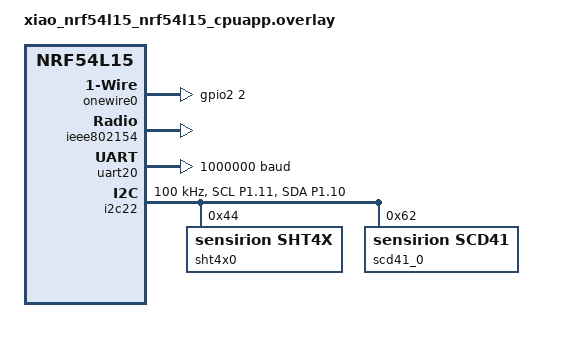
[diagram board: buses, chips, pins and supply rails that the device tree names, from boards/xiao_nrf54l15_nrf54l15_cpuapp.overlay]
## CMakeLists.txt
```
cmake_minimum_required(VERSION 3.20.0)

find_package(Zephyr REQUIRED HINTS $ENV{ZEPHYR_BASE})
project(ot_templatev4)

# Project headers (include/)
target_include_directories(app PRIVATE ${CMAKE_SOURCE_DIR}/include)

# App sources
target_sources(app PRIVATE
  src/main.c
  src/app_core.c
  src/transport.c
  src/coap_client.c
  src/topic.c
)

# >>> Forceer link van de SHT41 publisher als de toggle aan staat <<<
if(CONFIG_APP_USE_SHT41_SENSOR)
  target_sources(app PRIVATE lib/sensors_sht41/sensors_sht41.c)
endif()

if(CONFIG_APP_USE_SCD41_SENSOR)
  target_sources(app PRIVATE lib/sensors_scd41/sensors_scd41.c)
endif()
```

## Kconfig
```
mainmenu "ot_templatev4"

menu "App options"


config APP_DEBUG_SENSOR
    bool "Log sensor detection and readouts"
    default y

config APP_DEBUG_TRANSPORT
    bool "Log CoAP publishes (topic and result code)"
    default y

config APP_TRANSPORT_COAP
    bool "Use CoAP transport"
    default y

config APP_PUBLISH_UPTIME
    bool "Publish uptime"
    default y

config APP_USE_SHT41_SENSOR
    bool "Use SHT41 sensor publisher"
    default n

config APP_NODE_ID
    string "Node ID (e.g. 12 -> ND12)"
    default "00"

config APP_MEASUREMENT_PERIOD_S
    int "Measurement period (seconds)"
    default 60
    range 1 86400

config APP_COAP_ACK_TIMEOUT_MS
    int "CoAP ACK initial timeout (ms)"
    default 800
    range 100 5000

config APP_COAP_RETRIES
    int "CoAP CON retries"
    default 3
    range 0 8

endmenu

source "Kconfig.zephyr"
```

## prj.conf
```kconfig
###############################################
#  Core networking + OpenThread
###############################################
CONFIG_NETWORKING=y
CONFIG_NET_IPV6=y
CONFIG_NET_UDP=y
CONFIG_NET_SOCKETS=y
CONFIG_NET_L2_OPENTHREAD=y

CONFIG_OPENTHREAD=y
CONFIG_OPENTHREAD_SHELL=y
CONFIG_MULTITHREADING=y


###############################################
#  Console + Shell
###############################################
CONFIG_SERIAL=y
CONFIG_CONSOLE=y
CONFIG_UART_CONSOLE=y
CONFIG_SHELL=y
CONFIG_SHELL_BACKEND_SERIAL=y
CONFIG_SHELL_STACK_SIZE=2048


###############################################
#  Logging
###############################################
CONFIG_LOG=y
CONFIG_PRINTK=y
CONFIG_LOG_BACKEND_UART=y

# Log buffering uit — direct printen
CONFIG_LOG_MODE_IMMEDIATE=y

# Voorkom dubbele log-threads die stack vreten
CONFIG_LOG_PROCESS_THREAD=n
CONFIG_SHELL_LOG_BACKEND=n
CONFIG_SHELL_BACKEND_SERIAL_LOG_MESSAGE_QUEUE_SIZE=32


###############################################
#  I2C + Sensordrivers
###############################################
CONFIG_I2C=y
CONFIG_SENSOR=y
CONFIG_SHT4X=y

# Sensor driver logging
CONFIG_SENSOR_LOG_LEVEL_INF=y


###############################################
#  Memory & Thread stacks (belangrijk!)
###############################################
# App / main / workqueue
CONFIG_MAIN_STACK_SIZE=6144
CONFIG_SYSTEM_WORKQUEUE_STACK_SIZE=2048
CONFIG_ISR_STACK_SIZE=3072
CONFIG_HEAP_MEM_POOL_SIZE=8192

# OpenThread thread stacks
CONFIG_OPENTHREAD_THREAD_STACK_SIZE=8192
CONFIG_OPENTHREAD_RADIO_WORKQUEUE_STACK_SIZE=1024

# Stack debugging / guards
CONFIG_INIT_STACKS=y
CONFIG_STACK_SENTINEL=y
CONFIG_THREAD_STACK_INFO=y
CONFIG_THREAD_NAME=y

# Fault debugging
CONFIG_FAULT_DUMP=2
CONFIG_ASSERT=y


###############################################
#  CoAP Transport
###############################################
CONFIG_COAP=y
CONFIG_APP_TRANSPORT_COAP=y
CONFIG_APP_COAP_ACK_TIMEOUT_MS=800
CONFIG_APP_COAP_RETRIES=3


###############################################
#  Settings (persist CoAP server)
###############################################
CONFIG_SETTINGS=y
CONFIG_SETTINGS_RUNTIME=y

# NVS requires flash + map + nvs backend
CONFIG_FLASH=y
CONFIG_FLASH_MAP=y
CONFIG_NVS=y
CONFIG_SETTINGS_NVS=y
```

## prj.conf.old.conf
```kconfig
###############################################
#  Core networking + OpenThread
###############################################
CONFIG_NETWORKING=y
CONFIG_NET_IPV6=y
CONFIG_NET_UDP=y
CONFIG_NET_SOCKETS=y
CONFIG_NET_L2_OPENTHREAD=y

CONFIG_OPENTHREAD=y
CONFIG_OPENTHREAD_SHELL=y
CONFIG_MULTITHREADING=y


###############################################
#  Console + Shell
###############################################
CONFIG_SERIAL=y
CONFIG_CONSOLE=y
CONFIG_UART_CONSOLE=y
CONFIG_SHELL=y
CONFIG_SHELL_BACKEND_SERIAL=y
CONFIG_SHELL_STACK_SIZE=2048


###############################################
#  Logging
###############################################
CONFIG_LOG=y
CONFIG_PRINTK=y
CONFIG_LOG_BACKEND_UART=y

CONFIG_LOG_MODE_IMMEDIATE=y

# Voorkom dubbele log-threads die stack vreten
CONFIG_LOG_PROCESS_THREAD=n
CONFIG_SHELL_LOG_BACKEND=n
CONFIG_SHELL_BACKEND_SERIAL_LOG_MESSAGE_QUEUE_SIZE=32


###############################################
#  I2C + Sensordrivers
###############################################
CONFIG_I2C=y
CONFIG_SENSOR=y

# Sensor driver logging
CONFIG_SENSOR_LOG_LEVEL_INF=y


###############################################
#  Memory & Thread stacks (belangrijk!)
###############################################
# App / main / workqueue
CONFIG_MAIN_STACK_SIZE=6144
CONFIG_SYSTEM_WORKQUEUE_STACK_SIZE=2048
CONFIG_ISR_STACK_SIZE=3072
CONFIG_HEAP_MEM_POOL_SIZE=8192

# OpenThread thread stacks
CONFIG_OPENTHREAD_THREAD_STACK_SIZE=8192
CONFIG_OPENTHREAD_RADIO_WORKQUEUE_STACK_SIZE=1024

# Stack debugging / guards
CONFIG_INIT_STACKS=y
CONFIG_STACK_SENTINEL=y
CONFIG_THREAD_STACK_INFO=y
CONFIG_THREAD_NAME=y

# Fault debugging
CONFIG_FAULT_DUMP=2
CONFIG_ASSERT=y


###############################################
#  CoAP Transport
###############################################
CONFIG_COAP=y
CONFIG_APP_TRANSPORT_COAP=y
CONFIG_APP_COAP_ACK_TIMEOUT_MS=800
CONFIG_APP_COAP_RETRIES=3


###############################################
#  Settings (persist CoAP server)
###############################################
CONFIG_SETTINGS=y
CONFIG_SETTINGS_RUNTIME=y

# NVS requires flash + map + nvs backend
CONFIG_FLASH=y
CONFIG_FLASH_MAP=y
CONFIG_NVS=y
CONFIG_SETTINGS_NVS=y
```

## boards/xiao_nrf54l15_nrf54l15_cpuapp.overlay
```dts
#include <zephyr/dt-bindings/gpio/gpio.h>

/ {
    chosen {
        zephyr,ieee802154 = &ieee802154;
    };

    aliases {
        onewire0 = &onewire0;
        i2c0 = &i2c22;   /* alias is prima voor C (DT_ALIAS(i2c0)), niet voor &-referenties */
    };

    onewire0: w1 {
        compatible = "zephyr,w1-gpio";
        status = "okay";
        gpios = <&gpio2 2 (GPIO_OPEN_DRAIN | GPIO_PULL_UP)>;
    };
};

&ieee802154 {
    status = "okay";
};

&uart20 {
    current-speed = <1000000>;
    status = "okay";
};

/* I²C22 actief + pinmux naar PORT1: SCL=P1.11 (D5), SDA=P1.10 (D4) */
&i2c22 {
    status = "okay";
    clock-frequency = <I2C_BITRATE_STANDARD>; /* 100 kHz */
    pinctrl-0 = <&i2c22_default>;
    pinctrl-1 = <&i2c22_sleep>;
    pinctrl-names = "default", "sleep";

    /* SHT41/SHT4x node op adres 0x44 (sommige varianten gebruiken 0x45) */
    sht4x0: sht4x@44 {
        compatible = "sensirion,sht4x";
        reg = <0x44>;
        repeatability = <2>;   /* verplicht: 0=low, 1=med, 2=high */
        status = "okay";
        /* zephyr,deferred-init;  // kan, maar is niet nodig hier */
    };
    /* SCD41 CO2 sensor op adres 0x62 */
    scd41_0: scd41@62 {
        compatible = "sensirion,scd41";
        reg = <0x62>;
        mode = <1>;       /* 1 = periodic (integer, géén string) */
        status = "okay";
    };
};

/* Pinctrl: koppel i2c22 aan P1.11 (SCL) en P1.10 (SDA) */
&pinctrl {
    /omit-if-no-ref/ i2c22_default: i2c22_default {
        group1 {
            psels = <NRF_PSEL(TWIM_SCL, 1, 11)>, <NRF_PSEL(TWIM_SDA, 1, 10)>;
        };
    };
    /omit-if-no-ref/ i2c22_sleep: i2c22_sleep {
        group1 {
            psels = <NRF_PSEL(TWIM_SCL, 1, 11)>, <NRF_PSEL(TWIM_SDA, 1, 10)>;
            low-power-enable;
        };
    };
};
```

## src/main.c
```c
#include <zephyr/logging/log.h>
LOG_MODULE_REGISTER(app_main, LOG_LEVEL_INF);

extern int app_core_start(void);

/* Simpel versienummer: jij beheert dit zelf */
#define APP_VERSION   "v4.2.0"

/* Optioneel: automatisch buildtijdstip */
#define APP_BUILD     __DATE__ " " __TIME__

int main(void)
{
    LOG_INF("========================================");
    LOG_INF(" ot_templatev4 %s", APP_VERSION);
    LOG_INF(" built %s", APP_BUILD);
    LOG_INF(" starting node ...");
    LOG_INF("========================================");

    return app_core_start();
}
```

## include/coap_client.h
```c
#pragma once
#include <stdbool.h>
#include <stdint.h>
#include <stddef.h>   /* size_t voor coap_client_get_server() */

int  coap_client_init(const char *server_addr, uint16_t port);
int  coap_client_set_server(const char *server_addr, uint16_t port);
int  coap_client_get_server(char *addr, size_t len, uint16_t *port);
bool coap_client_ready(void);

int  coap_client_post(const char *uri_path,
                      const char *payload,
                      uint32_t ack_timeout_ms,
                      int n_retries);

int  coap_client_post_mqttlike(const char *uri_path,
                               const char *topic,
                               const char *value,
                               uint32_t ack_timeout_ms,
                               int n_retries);
```

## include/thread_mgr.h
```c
#pragma once
#include <stdbool.h>

void thread_mgr_init(void);
void thread_mgr_poll(void);
bool thread_mgr_is_attached(void);
```

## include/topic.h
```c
#pragma once
#include <stddef.h>

/* Bouw "ND<nodeId>", bv. node_id="30" -> "ND30" */
int topic_root(char *out, size_t out_len, const char *node_id);

/* Bouw "NDxx/<chan>/<device>/<field>" */
int topic_build(char *out, size_t out_len,
                const char *root,      /* bv. "ND30" */
                const char *chan,      /* "OUT" | "STATUS" */
                const char *device,    /* "SHT41-1", "DS18B20-2", ... */
                const char *field);    /* "TEMP", "RH", "CO2", "uptime", ... */
```

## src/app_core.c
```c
#include <zephyr/kernel.h>
#include <zephyr/logging/log.h>
LOG_MODULE_REGISTER(app_core, LOG_LEVEL_INF);

#include <stdatomic.h>
#include <string.h>

#include "transport.h"
#include "topic.h"

#include <zephyr/net/openthread.h>
#include <openthread/instance.h>
#include <openthread/thread.h>


/* --- Kconfig --------------------------------------------------------------- */
#ifndef CONFIG_APP_NODE_ID
#define CONFIG_APP_NODE_ID "00"
#endif
#ifndef CONFIG_APP_MEASUREMENT_PERIOD_S
#define CONFIG_APP_MEASUREMENT_PERIOD_S 60
#endif

/* --- Event-timer ----------------------------------------------------------- */
#define TICK_MS 1000

static struct k_timer tick_timer;
static void tick_cb(struct k_timer *t) { ARG_UNUSED(t); }

/* --- Sampling via k_work (niet blokkerend in TICK) ------------------------- */
static struct k_work sample_work;
static atomic_bool   sampling_busy;

static void app_publish_uptime(const char *root)
{
    char topic[64], payload[24];
    topic_build(topic, sizeof(topic), root, "STATUS", "uptime", "s");
    snprintk(payload, sizeof(payload), "%u", (unsigned)(k_uptime_get_32() / 1000U));
    int rc = transport_publish(topic, payload);
    if (rc) LOG_WRN("publish uptime rc=%d", rc);
}

/* ---- Hook: hier koppel jij jouw sensormeet- en publishcode in -------------
 * Voorbeeld:
 *   - bouw topic NDxx/OUT/SHT41-1/TEMP
 *   - payload = centi-°C als decimaal
 *   - transport_publish(topic, payload)
 */
__weak void app_core_on_sample_and_publish(const char *root)
{
    ARG_UNUSED(root);
    /* laat leeg; alleen uptime wordt gepubliceerd */
}

static bool ot_is_attached_now(void)
{
    bool attached = false;

    openthread_mutex_lock();
    otInstance *inst = openthread_get_default_instance();
    if (inst) {
        otDeviceRole role = otThreadGetDeviceRole(inst);
        attached = (role == OT_DEVICE_ROLE_CHILD) ||
                   (role == OT_DEVICE_ROLE_ROUTER) ||
                   (role == OT_DEVICE_ROLE_LEADER);
    }
    openthread_mutex_unlock();

    return attached;
}


static void sample_work_handler(struct k_work *w)
{
    
	if (!ot_is_attached_now()) {
    	/* Nog geen Thread attach → wacht gewoon op volgende tick */
    	return;
	}

    
    ARG_UNUSED(w);

    char root[16];
    if (topic_root(root, sizeof(root), CONFIG_APP_NODE_ID) != 0) return;

    
#if IS_ENABLED(CONFIG_APP_PUBLISH_UPTIME)
	app_publish_uptime(root);
#endif


    /* Jouw sensoren (optioneel) */
    app_core_on_sample_and_publish(root);

    atomic_store(&sampling_busy, false);
}

/* --- API ------------------------------------------------------------------- */

int app_core_start(void)
{
    int rc = transport_init();
    if (rc) LOG_WRN("transport_init rc=%d", rc);

    k_timer_init(&tick_timer, tick_cb, NULL);
    k_timer_start(&tick_timer, K_MSEC(TICK_MS), K_MSEC(TICK_MS));

    k_work_init(&sample_work, sample_work_handler);
    atomic_store(&sampling_busy, false);

    /* Forceer een immediate meting bij boot */
    uint32_t last_sample = k_uptime_get_32() - (CONFIG_APP_MEASUREMENT_PERIOD_S * 1000U);

    while (1) {
        k_timer_status_sync(&tick_timer); /* wacht tot volgende tick */

        /* Non-blocking loop; plan sampling als het tijd is */
        uint32_t now = k_uptime_get_32();
        if ((now - last_sample) >= (CONFIG_APP_MEASUREMENT_PERIOD_S * 1000U)) {
            if (!atomic_exchange(&sampling_busy, true)) {
                last_sample = now;
                k_work_submit(&sample_work);
            }
        }
    }

    /* onbereikbaar */
    return 0;
}
```

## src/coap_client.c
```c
#include "coap_client.h"
#include <zephyr/logging/log.h>
LOG_MODULE_REGISTER(coap_client, LOG_LEVEL_INF);

#include <zephyr/net/socket.h>
#include <zephyr/net/coap.h>
#include <zephyr/settings/settings.h>
#include <zephyr/random/random.h>
#include <zephyr/sys/printk.h>
#include <string.h>
#include <errno.h>

#ifndef COAP_DEF_PORT
#define COAP_DEF_PORT 5684  /* jouw bridge luistert op 5684 (zonder DTLS) */
#endif

/* --- defaults (centrale plek) --------------------------------------------- */
/* Jij gaf op: fdf4:c3a4:97ec:2:0:0:c0a8:105  */
static char     s_addr[INET6_ADDRSTRLEN] = "fdf4:c3a4:97ec:2:0:0:c0a8:105";
static uint16_t s_port = COAP_DEF_PORT;

static int  s_sock = -1;
static bool s_ready;

/* --- helpers --------------------------------------------------------------- */
static void coap_close(void)
{
    if (s_sock >= 0) {
        (void)zsock_close(s_sock);
        s_sock = -1;
    }
    s_ready = false;
}

static int coap_open(void)
{
    struct sockaddr_in6 peer = {0};

    coap_close();

    s_sock = zsock_socket(AF_INET6, SOCK_DGRAM, IPPROTO_UDP);
    if (s_sock < 0) {
        int rc = -errno;
        LOG_ERR("socket() rc=%d", rc);
        return rc;
    }

    peer.sin6_family = AF_INET6;
    peer.sin6_port   = htons(s_port);

    if (zsock_inet_pton(AF_INET6, s_addr, &peer.sin6_addr) != 1) {
        LOG_ERR("bad IPv6 addr: %s", s_addr);
        coap_close();
        return -EINVAL;
    }

    s_ready = true;
    LOG_INF("CoAP ready -> [%s]:%u", s_addr, (unsigned)s_port);
    return 0;
}

/* --- settings subsystem ---------------------------------------------------- */

static int settings_set_addr(const char *key, size_t len,
                             settings_read_cb read_cb, void *cb_arg)
{
    if (strcmp(key, "addr") == 0) {
        char tmp[INET6_ADDRSTRLEN];
        ssize_t n = read_cb(cb_arg, tmp, sizeof(tmp)-1);
        if (n < 0) return (int)n;
        tmp[n] = '\0';

        /* valideren */
        struct in6_addr v;
        if (zsock_inet_pton(AF_INET6, tmp, &v) != 1) {
            LOG_WRN("settings coap/addr invalid: %s", tmp);
            return -EINVAL;
        }
        strncpy(s_addr, tmp, sizeof(s_addr));
        s_addr[sizeof(s_addr)-1] = '\0';
        return 0;
    }
    if (strcmp(key, "port") == 0) {
        uint16_t tmp = 0;
        ssize_t n = read_cb(cb_arg, &tmp, sizeof(tmp));
        if (n == sizeof(tmp) && tmp > 0) {
            s_port = tmp;
            return 0;
        }
        return -EINVAL;
    }
    return -ENOENT;
}

static int ensure_settings_loaded_once(void)
{
    static bool registered;
    static struct settings_handler sh = {
        .name  = "coap",
        .h_set = settings_set_addr,
    };
    int rc = settings_subsys_init();
    if (rc && rc != -EALREADY) return rc;
    if (!registered) {
        rc = settings_register(&sh);
        if (rc) return rc;
        registered = true;
    }
    (void)settings_load_subtree("coap");
    return 0;
}

/* --- public API ------------------------------------------------------------ */

int coap_client_set_server(const char *server_addr, uint16_t port)
{
    if (!server_addr || !*server_addr) return -EINVAL;

    struct in6_addr tmp;
    if (zsock_inet_pton(AF_INET6, server_addr, &tmp) != 1) return -EINVAL;

    strncpy(s_addr, server_addr, sizeof(s_addr));
    s_addr[sizeof(s_addr)-1] = '\0';

    if (port != 0) s_port = port;

    int rc = settings_subsys_init();
    if (rc && rc != -EALREADY) return rc;

    (void)settings_save_one("coap/addr", s_addr, strlen(s_addr)+1);
    (void)settings_save_one("coap/port", &s_port, sizeof(s_port));

    /* Forceer heropenen met nieuwe endpoint bij eerstvolgende post */
    coap_close();
    return 0;
}

int coap_client_get_server(char *addr, size_t len, uint16_t *port)
{
    if (addr && len) {
        strncpy(addr, s_addr, len);
        addr[len - 1] = '\0';
    }
    if (port) *port = s_port;
    return 0;
}

int coap_client_init(const char *server_addr, uint16_t port)
{
    (void)ensure_settings_loaded_once();

    if (server_addr && *server_addr) {
        (void)coap_client_set_server(server_addr, port ? port : s_port);
    }

    if (!s_ready) {
        int rc = coap_open();
        if (rc) return rc;
    }
    return 0;
}

bool coap_client_ready(void)
{
    return s_ready;
}

/* --- ACK-wachtlus ---------------------------------------------------------- */
static int coap_wait_ack(uint16_t expect_msg_id,
                         const uint8_t *expect_token, uint8_t tlen,
                         int timeout_ms)
{
    uint8_t rx[192];

    int64_t deadline = k_uptime_get() + timeout_ms;
    while (k_uptime_get() < deadline) {
        ssize_t n = zsock_recv(s_sock, rx, sizeof(rx), ZSOCK_MSG_DONTWAIT);
        if (n < 0) {
            if (errno == EAGAIN || errno == EWOULDBLOCK) {
                k_msleep(10);
                continue;
            }
            return -errno;
        }
        if (n == 0) continue;

        struct coap_packet pkt;
        if (coap_packet_parse(&pkt, rx, (uint16_t)n, NULL, 0) < 0) {
            continue;
        }
        if (coap_header_get_type(&pkt) != COAP_TYPE_ACK) {
            continue;
        }
        if (coap_header_get_id(&pkt) != expect_msg_id) {
            continue;
        }
    
		uint8_t tkbuf[8];
	    uint8_t rlen = coap_header_get_token(&pkt, tkbuf);
        if (rlen != tlen) {
            continue;
        }
        if (memcmp(tkbuf, expect_token, tlen) != 0) {
            continue;
        }

        return 0; /* ACK ok */
    }

    return -ETIMEDOUT;
}

/* --- POST helpers (CON + retries/backoff) ---------------------------------- */
static int coap_send_post(const char *uri_path,
                          const char *payload,
                          uint32_t ack_timeout_ms, int n_retries)
{
    if (!s_ready) {
        int rc = coap_open();
        if (rc) return rc;
    }

    if (!uri_path || !*uri_path || !payload) return -EINVAL;

    uint8_t  buffer[320];
    uint8_t  token[2];
    uint16_t msg_id;
    struct coap_packet req;

    sys_rand_get(token, sizeof(token));
    msg_id = (uint16_t)sys_rand32_get();

    int rc = coap_packet_init(&req,
                              buffer, sizeof(buffer),
                              1,                 /* ver */
                              COAP_TYPE_CON,     /* confirmable */
                              sizeof(token), token,
                              COAP_METHOD_POST,
                              msg_id);
    if (rc < 0) return rc;

    rc = coap_packet_append_option(&req, COAP_OPTION_URI_PATH,
                                   uri_path, strlen(uri_path));
    if (rc < 0) return rc;

    /* Content-Format: text/plain */
    uint16_t cf = COAP_CONTENT_FORMAT_TEXT_PLAIN;
    rc = coap_packet_append_option(&req, COAP_OPTION_CONTENT_FORMAT,
                                   (uint8_t *)&cf, sizeof(cf));
    if (rc < 0) return rc;

    rc = coap_packet_append_payload_marker(&req);
    if (rc < 0) return rc;

    rc = coap_packet_append_payload(&req, payload, strlen(payload));
    if (rc < 0) return rc;

    struct sockaddr_in6 peer = {0};
    peer.sin6_family = AF_INET6;
    peer.sin6_port   = htons(s_port);
    (void)zsock_inet_pton(AF_INET6, s_addr, &peer.sin6_addr);

    int tries = 0;
    int backoff = (int)ack_timeout_ms;
    if (backoff <= 0) backoff = 800;

    for (;;) {
        ssize_t sent = zsock_sendto(s_sock, buffer, req.offset, 0,
                                    (struct sockaddr *)&peer, sizeof(peer));
        if (sent < 0) {
            rc = -errno;
            LOG_WRN("CoAP send rc=%d", rc);
            if (rc == -ENOTCONN || rc == -EPIPE || rc == -ECONNRESET) {
                coap_close();
            }
            return rc;
        }

        rc = coap_wait_ack(msg_id, token, sizeof(token), backoff);
        if (rc == 0) return 0;          /* ACK ok */
        if (rc != -ETIMEDOUT) return rc;/* andere fout */

        if (tries++ >= n_retries) return rc; /* -ETIMEDOUT */
        k_msleep(backoff);
        backoff = MIN(backoff * 2, 1500);
    }
}

int coap_client_post(const char *uri_path,
                     const char *payload,
                     uint32_t ack_timeout_ms, int n_retries)
{
    if (!coap_client_ready()) {
        int rc = coap_client_init(NULL, 0);
        if (rc) return rc;
    }
    return coap_send_post(uri_path, payload, ack_timeout_ms, n_retries);
}

int coap_client_post_mqttlike(const char *uri_path,
                              const char *topic,
                              const char *value,
                              uint32_t ack_timeout_ms, int n_retries)
{
    if (!topic || !value) return -EINVAL;

    char body[256];
    int  n = snprintk(body, sizeof(body), "topic=%s\nvalue=%s", topic, value);
    if (n < 0 || n >= (int)sizeof(body)) return -EOVERFLOW;

    return coap_client_post(uri_path, body, ack_timeout_ms, n_retries);
}
```

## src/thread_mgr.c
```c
#include "thread_mgr.h"

#include <zephyr/logging/log.h>
#include <zephyr/net/net_if.h>
#include <zephyr/net/net_ip.h>

LOG_MODULE_REGISTER(thread_mgr, LOG_LEVEL_INF);

void thread_mgr_init(void)
{
	LOG_INF("thread_mgr_init()");
}

void thread_mgr_poll(void)
{
	/* Intentionally non-blocking */
}

bool thread_mgr_is_attached(void)
{
	struct net_if *iface = NULL;
	struct in6_addr *addr = net_if_ipv6_get_global_addr(NET_ADDR_PREFERRED, &iface);

	return (addr != NULL) && (iface != NULL);
}
```

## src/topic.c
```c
#include "topic.h"
#include <string.h>
#include <stdio.h>
#include <zephyr/sys/printk.h>

int topic_root(char *out, size_t out_len, const char *node_id)
{
    if (!out || out_len == 0 || !node_id || !*node_id) return -1;
    int n = snprintk(out, out_len, "ND%s", node_id);
    return (n > 0 && n < (int)out_len) ? 0 : -1;
}

int topic_build(char *out, size_t out_len,
                const char *root,
                const char *chan,
                const char *device,
                const char *field)
{
    if (!out || out_len == 0 || !root || !chan || !device || !field) return -1;
    int n = snprintk(out, out_len, "%s/%s/%s/%s", root, chan, device, field);
    return (n > 0 && n < (int)out_len) ? 0 : -1;
}
```

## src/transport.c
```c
#include <zephyr/logging/log.h>
LOG_MODULE_REGISTER(transport, LOG_LEVEL_INF);

#include "transport.h"
#include "coap_client.h"

#ifndef CONFIG_APP_COAP_ACK_TIMEOUT_MS
#define CONFIG_APP_COAP_ACK_TIMEOUT_MS 800
#endif
#ifndef CONFIG_APP_COAP_RETRIES
#define CONFIG_APP_COAP_RETRIES 3
#endif

int transport_init(void)
{
    /* Laadt defaults + settings; server komt NIET uit node .conf */
    return coap_client_init(NULL, 0);
}

bool transport_is_connected(void)
{
    return coap_client_ready();
}

int transport_publish(const char *topic, const char *payload)
{
    if (!coap_client_ready()) {
        int rc = coap_client_init(NULL, 0);
        if (rc) return rc;
    }
    return coap_client_post_mqttlike("mqtt",
                                     topic, payload,
                                     CONFIG_APP_COAP_ACK_TIMEOUT_MS,
                                     CONFIG_APP_COAP_RETRIES);
}

int transport_subscribe(const char *topic)
{
    ARG_UNUSED(topic);
    return 0;
}
```
